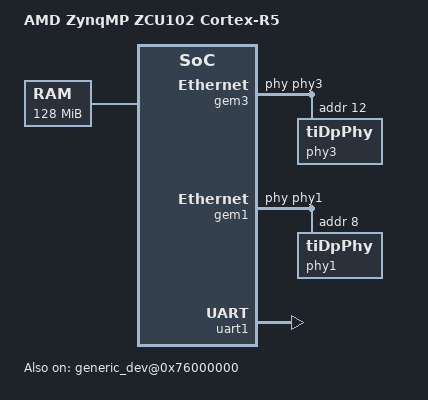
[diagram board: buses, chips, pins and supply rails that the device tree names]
/* amd-zcu102-r5-rev-1.1.dts - AMD ZynqMP ZCU102 Rev 1.1 Cortex-R5 device tree source */

/*
 * Copyright (c) 2018-2019, 2021, 2024-2025 Wind River Systems, Inc.
 *
 * This file is licensed under the Creative Commons CC0 1.0 Universal Public
 * Domain Dedication License (CC0-1.0). You may obtain a copy of the License
 * at:
 *     https://creativecommons.org/publicdomain/zero/1.0/
 * Unless required by applicable law or agreed to in writing, software
 * distributed under the License is distributed on an "AS IS" BASIS,
 * WITHOUT WARRANTIES OR CONDITIONS OF ANY KIND, either express or implied.
 */

/dts-v1/;

#include "kr260-r5.dtsi"

/ {
    model = "AMD ZynqMP ZCU102 Cortex-R5";

    aliases
        {
        serial0 = &uart1;
        };

    memory@78000000
        {
        device_type = "memory";
        reg = <0x78000000 0x08000000>;
        };
        
        
    generic_dev@0x76000000
       {
       compatible = "fdt,generic-dev";
       reg = <0x76000000 0x02000000>;
       status = "okay";
       };

    chosen
        {
        bootargs = "gem(0,0)host:vxWorks h=192.168.12.51 e=192.168.12.33:ffffff00 g=192.168.12.1 u=a pw=a";
        stdout-path = "serial0";
        };
    };

&ps_ref_clk
     {
     clock-frequency = <33330000>;
     };

&gem3
    {
    status = "okay";
    phy-handle = <&phy3>;

    phy3: ethernet-phy@c
        {
        compatible = "tiDpPhy";

        reg = <0x0c>;
        rgmii-delay = <0x3>;
        rx-internal-delay = <0x8>;
        tx-internal-delay = <0xa>;
        fifo-depth = <0x1>;
        };
    };
    
&gem1
    {
    status = "okay";
    phy-handle = <&phy1>;

    phy1: ethernet-phy@c
        {
        compatible = "tiDpPhy";

        reg = <0x08>;
        rgmii-delay = <0x3>;
        rx-internal-delay = <0x8>;
        tx-internal-delay = <0xa>;
        fifo-depth = <0x1>;
        };
    };

&uart1
    {
    status = "okay";
    };

